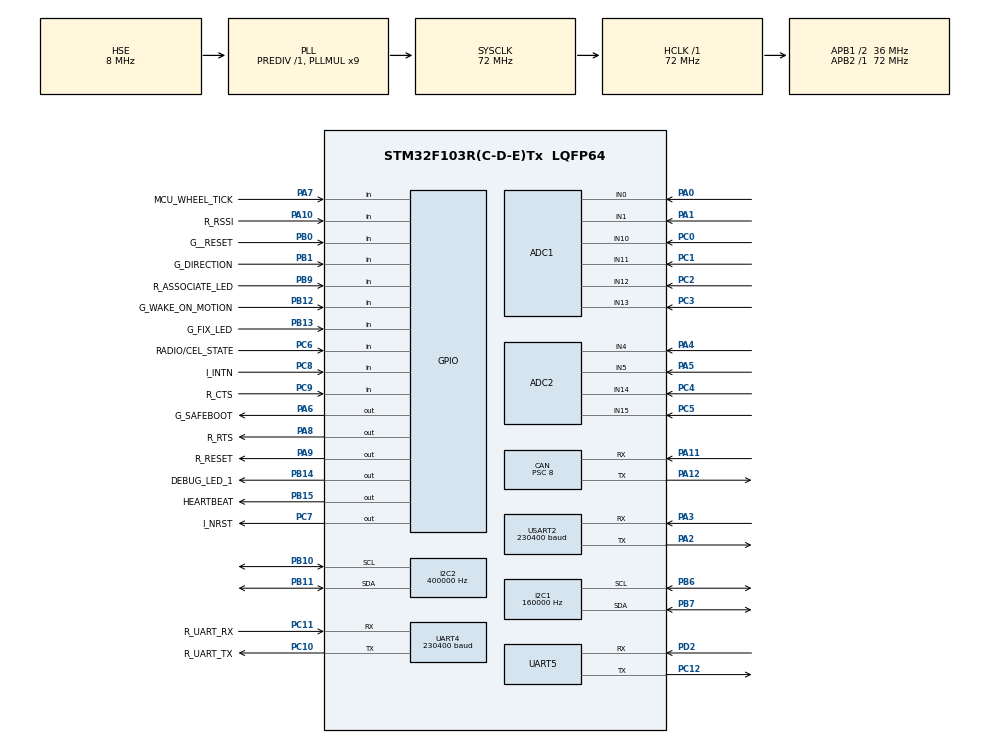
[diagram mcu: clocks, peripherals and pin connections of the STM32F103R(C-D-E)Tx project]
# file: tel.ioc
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ADC1.Channel-0\#ChannelRegularConversion=ADC_CHANNEL_10
ADC1.NbrOfConversionFlag=1
ADC1.Rank-0\#ChannelRegularConversion=1
ADC1.SamplingTime-0\#ChannelRegularConversion=ADC_SAMPLETIME_1CYCLE_5
ADC1.master=1
ADC2.Channel-0\#ChannelRegularConversion=ADC_CHANNEL_14
ADC2.NbrOfConversionFlag=1
ADC2.Rank-0\#ChannelRegularConversion=1
ADC2.SamplingTime-0\#ChannelRegularConversion=ADC_SAMPLETIME_1CYCLE_5
CAN.ABOM=ENABLE
CAN.BS1=CAN_BS1_4TQ
CAN.BS2=CAN_BS2_4TQ
CAN.CalculateBaudRate=500000
CAN.CalculateTimeBit=2000
CAN.CalculateTimeQuantum=222.22222222222223
CAN.NART=ENABLE
CAN.Prescaler=8
CAN.SJW=CAN_SJW_2TQ
Dma.Request0=USART2_TX
Dma.Request1=UART4_TX
Dma.UART4_TX.1.Direction=DMA_MEMORY_TO_PERIPH
Dma.UART4_TX.1.Instance=DMA2_Channel5
Dma.UART4_TX.1.MemDataAlignment=DMA_MDATAALIGN_BYTE
Dma.UART4_TX.1.MemInc=DMA_MINC_ENABLE
Dma.UART4_TX.1.Mode=DMA_NORMAL
Dma.UART4_TX.1.PeriphDataAlignment=DMA_PDATAALIGN_BYTE
Dma.UART4_TX.1.PeriphInc=DMA_PINC_DISABLE
Dma.UART4_TX.1.Priority=DMA_PRIORITY_LOW
Dma.USART2_TX.0.Direction=DMA_MEMORY_TO_PERIPH
Dma.USART2_TX.0.Instance=DMA1_Channel7
Dma.USART2_TX.0.MemDataAlignment=DMA_MDATAALIGN_BYTE
Dma.USART2_TX.0.MemInc=DMA_MINC_ENABLE
Dma.USART2_TX.0.Mode=DMA_NORMAL
Dma.USART2_TX.0.PeriphDataAlignment=DMA_PDATAALIGN_BYTE
Dma.USART2_TX.0.PeriphInc=DMA_PINC_DISABLE
Dma.USART2_TX.0.Priority=DMA_PRIORITY_LOW
FREERTOS.Tasks01=defaultTask,24,128,StartDefaultTask,Default,NULL,Dynamic,NULL,NULL
I2C1.ClockSpeed=160000
I2C1.I2C_Mode=I2C_Fast
I2C2.ClockSpeed=400000
I2C2.I2C_Mode=I2C_Fast
Mcu.Family=STM32F1
Mcu.Name=STM32F103R(C-D-E)Tx
Mcu.Package=LQFP64
NVIC.CAN1_SCE_IRQn=true\:5\:0\:false\:false\:true\:true\:true\:true\:true
NVIC.DMA1_Channel7_IRQn=true\:5\:0\:false\:false\:true\:true\:false\:true\:true
NVIC.DMA2_Channel4_5_IRQn=true\:5\:0\:false\:false\:true\:true\:false\:true\:true
NVIC.I2C1_EV_IRQn=true\:5\:0\:false\:false\:true\:true\:true\:true\:true
NVIC.PriorityGroup=NVIC_PRIORITYGROUP_4
NVIC.TIM2_IRQn=true\:5\:0\:false\:false\:true\:true\:true\:true\:true
NVIC.UART4_IRQn=true\:5\:0\:false\:false\:true\:true\:true\:true\:true
NVIC.USART2_IRQn=true\:5\:0\:false\:false\:true\:true\:true\:true\:true
NVIC.USB_HP_CAN1_TX_IRQn=true\:5\:0\:false\:false\:true\:true\:true\:true\:true
NVIC.USB_LP_CAN1_RX0_IRQn=true\:5\:0\:false\:false\:true\:true\:true\:true\:true
PA0-WKUP.Signal=ADCx_IN0
PA1.Signal=ADCx_IN1
PA10.GPIO_Label=R_RSSI
PA10.Signal=GPIO_Input
PA11.Mode=CAN_Activate
PA11.Signal=CAN_RX
PA12.Mode=CAN_Activate
PA12.Signal=CAN_TX
PA13.Mode=Trace_Asynchronous_SW
PA13.Signal=SYS_JTMS-SWDIO
PA14.Mode=Trace_Asynchronous_SW
PA14.Signal=SYS_JTCK-SWCLK
PA2.Mode=Asynchronous
PA2.Signal=USART2_TX
PA3.Mode=Asynchronous
PA3.Signal=USART2_RX
PA4.Signal=ADCx_IN4
PA5.Signal=ADCx_IN5
PA6.GPIO_Label=G_SAFEBOOT
PA6.GPIO_ModeDefaultOutputPP=GPIO_MODE_OUTPUT_PP
PA6.GPIO_PuPd=GPIO_PULLUP
PA6.PinState=GPIO_PIN_SET
PA6.Signal=GPIO_Output
PA7.GPIO_Label=MCU_WHEEL_TICK
PA7.Signal=GPIO_Input
PA8.GPIO_Label=R_RTS
PA8.Signal=GPIO_Output
PA9.GPIO_Label=R_RESET
PA9.GPIO_ModeDefaultOutputPP=GPIO_MODE_OUTPUT_OD
PA9.GPIO_PuPd=GPIO_PULLUP
PA9.PinState=GPIO_PIN_RESET
PA9.Signal=GPIO_Output
PB0.GPIO_Label=G__RESET
PB0.Signal=GPIO_Input
PB1.GPIO_Label=G_DIRECTION
PB1.Signal=GPIO_Input
PB10.Mode=I2C
PB10.Signal=I2C2_SCL
PB11.Mode=I2C
PB11.Signal=I2C2_SDA
PB12.GPIO_Label=G_WAKE_ON_MOTION
PB12.Signal=GPIO_Input
PB13.GPIO_Label=G_FIX_LED
PB13.Signal=GPIO_Input
PB14.GPIO_Label=DEBUG_LED_1
PB14.Signal=GPIO_Output
PB15.GPIO_Label=HEARTBEAT
PB15.Signal=GPIO_Output
PB3.Mode=Trace_Asynchronous_SW
PB3.Signal=SYS_JTDO-TRACESWO
PB6.Mode=I2C
PB6.Signal=I2C1_SCL
PB7.Mode=I2C
PB7.Signal=I2C1_SDA
PB9.GPIO_Label=R_ASSOCIATE_LED
PB9.Signal=GPIO_Input
PC0.Signal=ADCx_IN10
PC1.Signal=ADCx_IN11
PC10.GPIO_Label=R_UART_TX
PC10.Mode=Asynchronous
PC10.Signal=UART4_TX
PC11.GPIO_Label=R_UART_RX
PC11.GPIO_PuPd=GPIO_PULLDOWN
PC11.Mode=Asynchronous
PC11.Signal=UART4_RX
PC12.Mode=Asynchronous
PC12.Signal=UART5_TX
PC2.Signal=ADCx_IN12
PC3.Signal=ADCx_IN13
PC4.Signal=ADCx_IN14
PC5.Signal=ADCx_IN15
PC6.GPIO_Label=RADIO/CEL_STATE
PC6.Signal=GPIO_Input
PC7.GPIO_Label=I_NRST
PC7.Signal=GPIO_Output
PC8.GPIO_Label=I_INTN
PC8.Signal=GPIO_Input
PC9.GPIO_Label=R_CTS
PC9.Signal=GPIO_Input
PD0-OSC_IN.Mode=HSE-External-Oscillator
PD0-OSC_IN.Signal=RCC_OSC_IN
PD1-OSC_OUT.Mode=HSE-External-Oscillator
PD1-OSC_OUT.Signal=RCC_OSC_OUT
PD2.Mode=Asynchronous
PD2.Signal=UART5_RX
ProjectManager.HeapSize=0x200
ProjectManager.StackSize=0x400
ProjectManager.TargetToolchain=CMake
RCC.ADCPresc=RCC_ADCPCLK2_DIV6
RCC.AHBFreq_Value=72000000
RCC.APB1CLKDivider=RCC_HCLK_DIV2
RCC.APB1Freq_Value=36000000
RCC.APB1TimFreq_Value=72000000
RCC.APB2Freq_Value=72000000
RCC.APB2TimFreq_Value=72000000
RCC.HCLKFreq_Value=72000000
RCC.PLLMUL=RCC_PLL_MUL9
RCC.PLLSourceVirtual=RCC_PLLSOURCE_HSE
RCC.SYSCLKFreq_VALUE=72000000
RCC.SYSCLKSource=RCC_SYSCLKSOURCE_PLLCLK
RCC.USBFreq_Value=72000000
SH.ADCx_IN0.0=ADC1_IN0,IN0
SH.ADCx_IN1.0=ADC1_IN1,IN1
SH.ADCx_IN10.0=ADC1_IN10,IN10
SH.ADCx_IN11.0=ADC1_IN11,IN11
SH.ADCx_IN12.0=ADC1_IN12,IN12
SH.ADCx_IN13.0=ADC1_IN13,IN13
SH.ADCx_IN14.0=ADC2_IN14,IN14
SH.ADCx_IN15.0=ADC2_IN15,IN15
SH.ADCx_IN4.0=ADC2_IN4,IN4
SH.ADCx_IN5.0=ADC2_IN5,IN5
TIM2.Prescaler=71
UART4.BaudRate=230400
UART4.VirtualMode=Asynchronous
UART5.VirtualMode=Asynchronous
USART2.BaudRate=230400
USART2.VirtualMode=VM_ASYNC
VP_ADC1_TempSens_Input.Mode=IN-TempSens
VP_ADC1_Vref_Input.Mode=IN-Vrefint
VP_FREERTOS_VS_CMSIS_V2.Mode=CMSIS_V2
VP_IWDG_VS_IWDG.Mode=IWDG_Activate
VP_RTC_VS_RTC_Activate.Mode=RTC_Enabled
VP_RTC_VS_RTC_Calendar.Mode=RTC_Calendar
VP_TIM2_VS_ClockSourceINT.Mode=Internal
VP_TIM2_VS_ClockSourceITR.Mode=TriggerSource_ITR0
VP_TIM2_VS_ControllerModeTrigger.Mode=Trigger Mode
board=custom

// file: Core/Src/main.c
/* USER CODE BEGIN Header */
/**
  ******************************************************************************
  * @file           : main.c
  * @brief          : Main program body
  ******************************************************************************
  * @attention
  *
  * Copyright (c) 2025 STMicroelectronics.
  * All rights reserved.
  *
  * This software is licensed under terms that can be found in the LICENSE file
  * in the root directory of this software component.
  * If no LICENSE file comes with this software, it is provided AS-IS.
  *
  ******************************************************************************
  */
/* USER CODE END Header */
#include "main.h"
#include "cmsis_os.h"
#include "adc.h"
#include "can.h"
#include "dma.h"
#include "i2c.h"
#include "iwdg.h"
#include "rtc.h"
#include "tim.h"
#include "usart.h"
#include "gpio.h"

/* USER CODE BEGIN Includes */
#include "can_app.h"
#include "telemetry_app.h"
#include "telemetry_driver.h"
#include <string.h>
/* USER CODE END Includes */

void SystemClock_Config(void);
void MX_FREERTOS_Init(void);

int main(void)
{

  /* MCU Configuration--------------------------------------------------------*/

  /* Reset of all peripherals, Initializes the Flash interface and the Systick. */
  HAL_Init();

  /* Configure the system clock */
  SystemClock_Config();

  /* Initialize all configured peripherals */
  MX_GPIO_Init();
  MX_DMA_Init();
  MX_CAN_Init();
  MX_ADC1_Init();
  MX_ADC2_Init();
  MX_UART4_Init();
  MX_I2C1_Init();
  MX_I2C2_Init();
  MX_USART2_UART_Init();
  MX_RTC_Init();
  MX_TIM2_Init();
  MX_UART5_Init();
  MX_IWDG_Init();
  /* USER CODE BEGIN 2 */
  CanAppInit();
  /* USER CODE END 2 */

  /* Init scheduler */
  osKernelInitialize();  /* Call init function for freertos objects (in cmsis_os2.c) */
  MX_FREERTOS_Init();

  /* Start scheduler */
  osKernelStart();

  /* We should never get here as control is now taken by the scheduler */

  /* Infinite loop */
  while (1)
  {

  }
}

void SystemClock_Config(void)
{
  RCC_OscInitTypeDef RCC_OscInitStruct = {0};
  RCC_ClkInitTypeDef RCC_ClkInitStruct = {0};
  RCC_PeriphCLKInitTypeDef PeriphClkInit = {0};

  /** Initializes the RCC Oscillators according to the specified parameters
  * in the RCC_OscInitTypeDef structure.
  */
  RCC_OscInitStruct.OscillatorType = RCC_OSCILLATORTYPE_LSI|RCC_OSCILLATORTYPE_HSE;
  RCC_OscInitStruct.HSEState = RCC_HSE_ON;
  RCC_OscInitStruct.HSEPredivValue = RCC_HSE_PREDIV_DIV1;
  RCC_OscInitStruct.HSIState = RCC_HSI_ON;
  RCC_OscInitStruct.LSIState = RCC_LSI_ON;
  RCC_OscInitStruct.PLL.PLLState = RCC_PLL_ON;
  RCC_OscInitStruct.PLL.PLLSource = RCC_PLLSOURCE_HSE;
  RCC_OscInitStruct.PLL.PLLMUL = RCC_PLL_MUL9;
  if (HAL_RCC_OscConfig(&RCC_OscInitStruct) != HAL_OK)
  {
    Error_Handler();
  }

  /** Initializes the CPU, AHB and APB buses clocks
  */
  RCC_ClkInitStruct.ClockType = RCC_CLOCKTYPE_HCLK|RCC_CLOCKTYPE_SYSCLK
                              |RCC_CLOCKTYPE_PCLK1|RCC_CLOCKTYPE_PCLK2;
  RCC_ClkInitStruct.SYSCLKSource = RCC_SYSCLKSOURCE_PLLCLK;
  RCC_ClkInitStruct.AHBCLKDivider = RCC_SYSCLK_DIV1;
  RCC_ClkInitStruct.APB1CLKDivider = RCC_HCLK_DIV2;
  RCC_ClkInitStruct.APB2CLKDivider = RCC_HCLK_DIV1;

  if (HAL_RCC_ClockConfig(&RCC_ClkInitStruct, FLASH_LATENCY_2) != HAL_OK)
  {
    Error_Handler();
  }
  PeriphClkInit.PeriphClockSelection = RCC_PERIPHCLK_RTC|RCC_PERIPHCLK_ADC;
  PeriphClkInit.RTCClockSelection = RCC_RTCCLKSOURCE_LSI;
  PeriphClkInit.AdcClockSelection = RCC_ADCPCLK2_DIV6;
  if (HAL_RCCEx_PeriphCLKConfig(&PeriphClkInit) != HAL_OK)
  {
    Error_Handler();
  }
}

void Error_Handler(void)
{
  __disable_irq();
  while (1)
  {
  }
}

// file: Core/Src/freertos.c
/* USER CODE BEGIN Header */
/**
  ******************************************************************************
  * File Name          : freertos.c
  * Description        : Code for freertos applications
  ******************************************************************************
  * @attention
  *
  * Copyright (c) 2025 STMicroelectronics.
  * All rights reserved.
  *
  * This software is licensed under terms that can be found in the LICENSE file
  * in the root directory of this software component.
  * If no LICENSE file comes with this software, it is provided AS-IS.
  *
  ******************************************************************************
  */
/* USER CODE END Header */

#include "FreeRTOS.h"
#include "task.h"
#include "main.h"
#include "cmsis_os.h"

/* USER CODE BEGIN Includes */
#include "tasks.h"
#include "telemetry_driver.h"
/* USER CODE END Includes */

/* USER CODE BEGIN PTD */
typedef StaticTask_t osStaticThreadDef_t;
typedef StaticEventGroup_t osStaticEventGroupDef_t;
/* USER CODE END PTD */

/* USER CODE BEGIN PD */
#define NUM_USART1_TX_SEMAPHORES        1
/* USER CODE END PD */

/* USER CODE BEGIN Variables */

osSemaphoreId_t usart1_tx_semaphore;
static StaticSemaphore_t usart1_tx_semaphore_control_block;
static const osSemaphoreAttr_t usart1_tx_semaphore_attributes = {
  .name = "usart1_tx_semaphore",
  .cb_mem = &usart1_tx_semaphore_control_block,
  .cb_size = sizeof(usart1_tx_semaphore_control_block),
};

/* Definitions for TasksCellular (allocated statically, created only in cellular mode). */
static osThreadId_t TasksCellularHandle;
static uint32_t TasksCellularBuffer[CELLULAR_TASK_STACK_WORDS];
static osStaticThreadDef_t TasksCellularControlBlock;
static const osThreadAttr_t TasksCellular_attributes = {
  .name = "TasksCellular",
  .cb_mem = &TasksCellularControlBlock,
  .cb_size = sizeof(TasksCellularControlBlock),
  .stack_mem = TasksCellularBuffer,
  .stack_size = sizeof(TasksCellularBuffer),
  .priority = (osPriority_t) osPriorityNormal,
};

/* Definitions for TasksIMU */
osThreadId_t TasksIMUHandle;
uint32_t TasksIMUBuffer[256];
osStaticThreadDef_t TasksIMUControlBlock;

const osThreadAttr_t TasksIMU_attributes = {
  .name = "TasksIMU",
  .cb_mem = &TasksIMUControlBlock,
  .cb_size = sizeof(TasksIMUControlBlock),
  .stack_mem = &TasksIMUBuffer[0],
  .stack_size = sizeof(TasksIMUBuffer),
  .priority = (osPriority_t) osPriorityLow1,
};

/* Definitions for TasksCanload */
osThreadId_t TasksCanloadHandle;
uint32_t TasksCanloadBuffer[128];
osStaticThreadDef_t TasksCanloadControlBlock;

const osThreadAttr_t TasksCanload_attributes = {
  .name = "TasksCanload",
  .cb_mem = &TasksCanloadControlBlock,
  .cb_size = sizeof(TasksCanloadControlBlock),
  .stack_mem = &TasksCanloadBuffer[0],
  .stack_size = sizeof(TasksCanloadBuffer),
  .priority = (osPriority_t) osPriorityLow1,
};

/* Definitions for TasksGPS */
osThreadId_t TasksGPSHandle;
uint32_t TasksGPSBuffer[256];
osStaticThreadDef_t TasksGPSControlBlock;

const osThreadAttr_t TasksGPS_attributes = {
  .name = "TasksGPS",
  .cb_mem = &TasksGPSControlBlock,
  .cb_size = sizeof(TasksGPSControlBlock),
  .stack_mem = &TasksGPSBuffer[0],
  .stack_size = sizeof(TasksGPSBuffer),
  .priority = (osPriority_t) osPriorityLow1,
};

/* Definitions for TasksDiagnostics */
osThreadId_t TasksDiagnosticsHandle;
uint32_t TasksDiagnosticsBuffer[256];
osStaticThreadDef_t TasksDiagnosticsControlBlock;

const osThreadAttr_t TasksDiagnostics_attributes = {
  .name = "TasksDiagnostics",
  .cb_mem = &TasksDiagnosticsControlBlock,
  .cb_size = sizeof(TasksDiagnosticsControlBlock),
  .stack_mem = &TasksDiagnosticsBuffer[0],
  .stack_size = sizeof(TasksDiagnosticsBuffer),
  .priority = (osPriority_t) osPriorityHigh1,
};

/* Definitions for TasksWatchDog */
osThreadId_t TasksIWDGHandle;
uint32_t TasksIWDGBuffer[128];
osStaticThreadDef_t TasksIWDGControlBlock;

const osThreadAttr_t TasksIWDG_attributes = {
  .name = "TasksIWDG",
  .cb_mem = &TasksIWDGControlBlock,
  .cb_size = sizeof(TasksIWDGControlBlock),
  .stack_mem = &TasksIWDGBuffer[0],
  .stack_size = sizeof(TasksIWDGBuffer),
  .priority = (osPriority_t) osPriorityLow,
};

/* Definitions for TasksTimeSinceStartup */
osThreadId_t TasksTimeSinceStartupHandle;
uint32_t TasksTimeSinceStartupBuffer[256];
osStaticThreadDef_t TasksTimeSinceStartupControlBlock;

const osThreadAttr_t TasksTimeSinceStartup_attributes = {
  .name = "TasksTimeSinceStartup",
  .cb_mem = &TasksTimeSinceStartupControlBlock,
  .cb_size = sizeof(TasksTimeSinceStartupControlBlock),
  .stack_mem = &TasksTimeSinceStartupBuffer[0],
  .stack_size = sizeof(TasksTimeSinceStartupBuffer),
  .priority = (osPriority_t) osPriorityLow1,
};

/* USER CODE END Variables */
/* Definitions for defaultTask */
osThreadId_t defaultTaskHandle;
const osThreadAttr_t defaultTask_attributes = {
  .name = "defaultTask",
  .stack_size = 128 * 4,
  .priority = (osPriority_t) osPriorityNormal,
};

void StartDefaultTask(void *argument);

void MX_FREERTOS_Init(void); /* (MISRA C 2004 rule 8.1) */

void MX_FREERTOS_Init(void) {

  /* USER CODE BEGIN RTOS_SEMAPHORES */
  /* add semaphores, ... */
  usart1_tx_semaphore = osSemaphoreNew(NUM_USART1_TX_SEMAPHORES, NUM_USART1_TX_SEMAPHORES,
                                      &usart1_tx_semaphore_attributes);
  /* USER CODE END RTOS_SEMAPHORES */

  /* Create the thread(s) */
  /* creation of defaultTask */
  defaultTaskHandle = osThreadNew(StartDefaultTask, NULL, &defaultTask_attributes);

  /* USER CODE BEGIN RTOS_THREADS */
  if (car_config_cellular)
  {
    TasksCellularHandle = osThreadNew(TasksCellular, NULL, &TasksCellular_attributes);
  }
  /* add threads, ... */

  /* creation of TasksIMU */
  TasksIMUHandle = osThreadNew(TasksIMU, NULL, &TasksIMU_attributes);
  /* creation of TasksCanload */
  TasksCanloadHandle = osThreadNew(TasksCanload, NULL, &TasksCanload_attributes);
  /* creation of TasksGPS */
  TasksGPSHandle = osThreadNew(TasksGPS, NULL, &TasksGPS_attributes);
  /* creation of TasksDiagnostics */
  TasksDiagnosticsHandle = osThreadNew(TasksDiagnostics, NULL, &TasksDiagnostics_attributes);
  /* creation of TasksTimeSinceStartup*/
  TasksTimeSinceStartupHandle = osThreadNew(TimeSinceStartup, NULL, &TasksTimeSinceStartup_attributes);
  /* Initialization for TasksWDG */
  TasksIWDGHandle = osThreadNew(TasksIWDG, NULL, &TasksIWDG_attributes);

  /* USER CODE END RTOS_THREADS */

}

void StartDefaultTask(void *argument)
{
  for(;;)
  {
    osDelay(1);
  }
}
